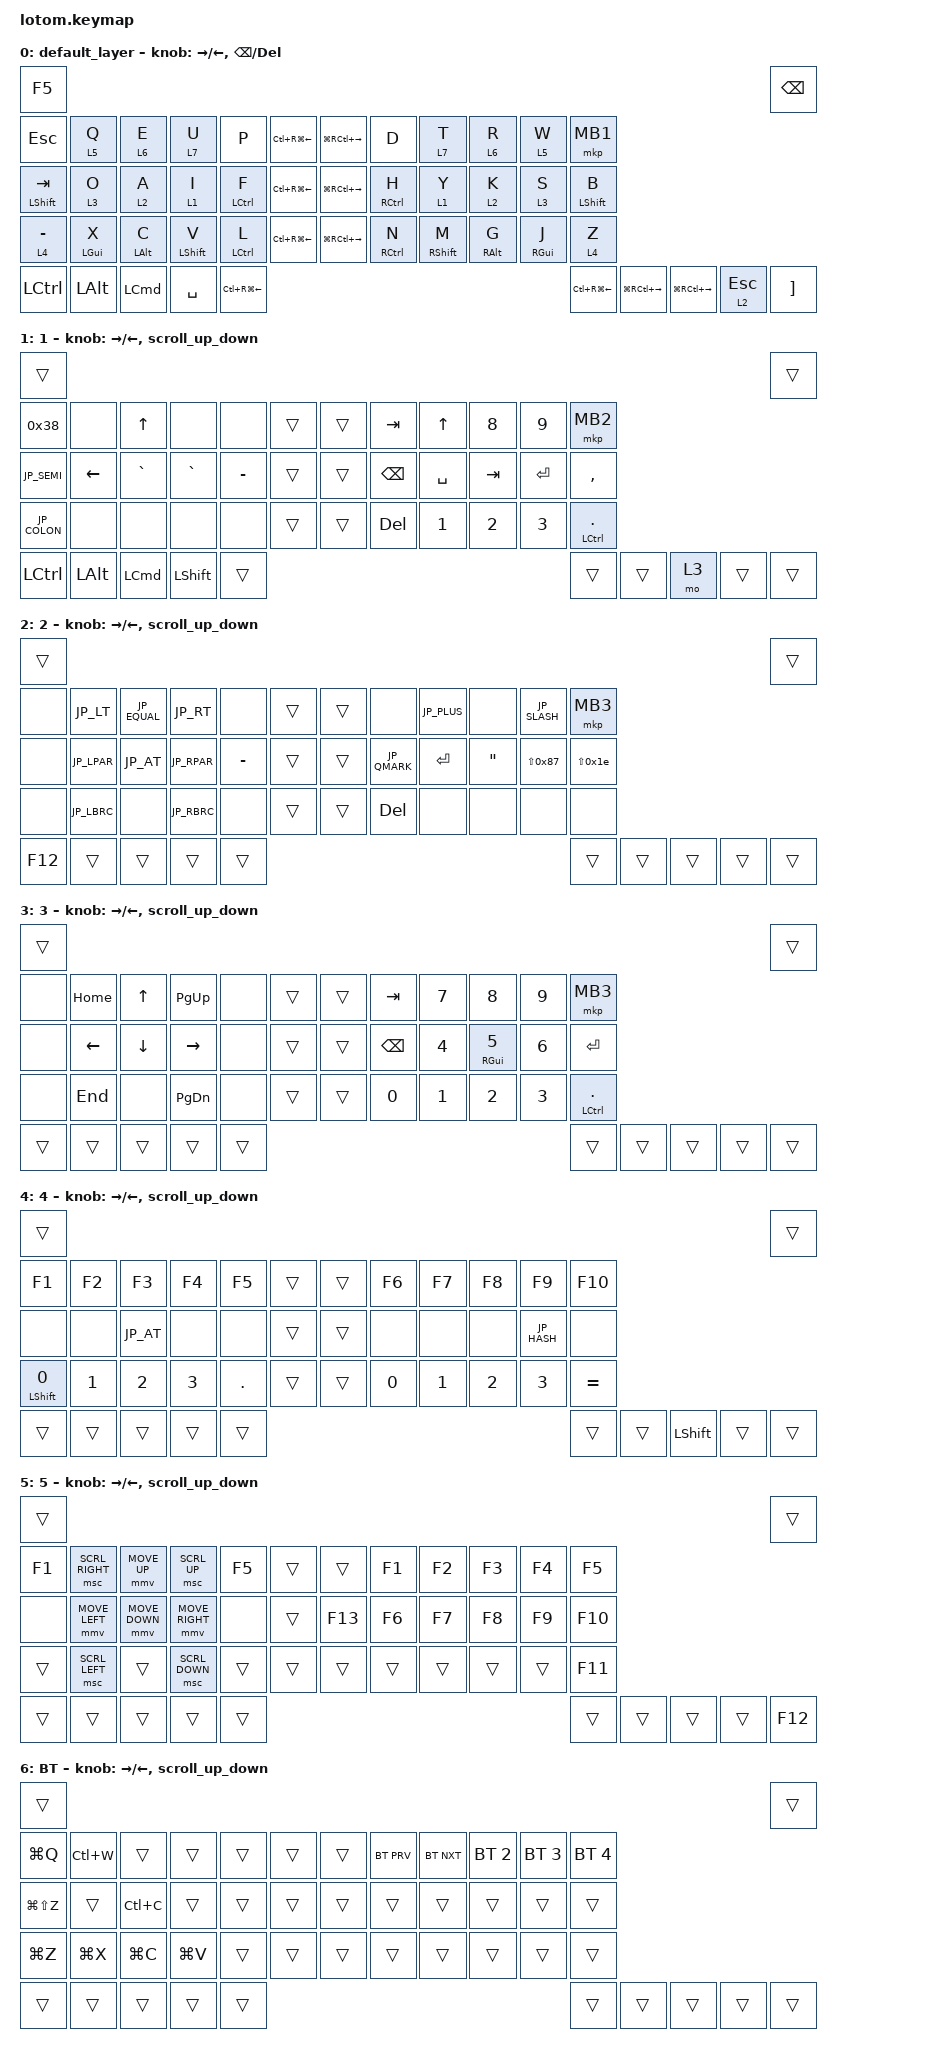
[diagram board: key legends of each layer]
#include <behaviors.dtsi>
#include <dt-bindings/zmk/bt.h>
#include <dt-bindings/zmk/keys.h>
#include <dt-bindings/zmk/pointing.h>

#include "keycode_japanese.h"




#define ZMK_POINTING_DEFAULT_SCRL_VAL 50

&mt { 
    flavor = "balanced"; 
    tapping-term-ms = <200>;
    quick-tap-ms = <150>; 
};

&lt {
    flavor = "balanced";
    tapping-term-ms = <200>; 
    quick-tap-ms = <150>; 
};

// 0                                              1
//    2  3  4  5  6  7           8  9  10 11 12 13 
//    14 15 16 17 18 19          20 21 22 23 24 25
//    26 27 28 29 30 31          32 33 34 35 36 37
//    38 39 40 41 42 43          44 45       46 47


/ {
    combos { compatible = "zmk,combos"; 

        lang {
            bindings = <&kp GRAVE>;
            key-positions = <3 5>;
            layers = <0>;
            timeout-ms = <200>;
        };

        fopen {
            bindings = <&kp LG(N2)>;
            key-positions = <9 13>;
            layers = <0>;
            timeout-ms = <200>;
        };

       bootloader_R {
            bindings = <&bootloader>;
            key-positions = <1 8 44 47>;
            timeout-ms = <200>;
        };

       bootloader_L {
            bindings = <&bootloader>;
            key-positions = <0 7 38 43>;
            timeout-ms = <200>;
        };

        eq {
            bindings = <&bt BT_CLR_ALL>;
            key-positions = <8 20 32 34>;
            timeout-ms = <50>;
            layers = <0>;
        };

        bt0 {
            bindings = <&bt BT_SEL 0>;
            key-positions = <9 21 33>;
            timeout-ms = <50>;
            layers = <0>;
        };

        mute {
            bindings = <&kp C_MUTE>;
            key-positions = <17 18>;
            layers = <0>;
        };

        vup {
            bindings = <&kp C_VOL_UP>;
            key-positions = <5 6>;
            layers = <0>;
        };

        vdn {
            bindings = <&kp C_VOL_DN>;
            key-positions = <29 30>;
            layers = <0>;
        };

        printscreen {
            bindings = <&kp PSCRN>;
            key-positions = <27 29>;
            layers = <0>;
        };


        space {
            bindings = <&kp SPACE>;
            key-positions = <14 18>;
            layers = <0>;
        };




};





};





/ {
    behaviors {
      scroll_up_down: behavior_sensor_rotate_mouse_wheel_up_down {
          compatible = "zmk,behavior-sensor-rotate";
          label = "ENCODER_MSC_DOWN_UP";
          #sensor-binding-cells = <0>;
          bindings = <&msc SCRL_DOWN>, <&msc SCRL_UP>;
          tap-ms = <20>;
      };

      tab_slide: behavior_sensor_rotate_tab_slide {
          compatible = "zmk,behavior-sensor-rotate";
          label = "ENCODER_TAB_SLIDE";
          #sensor-binding-cells = <0>;
          bindings = <&kp LA(LG(RIGHT_ARROW))>, <&kp LA(LG(LEFT_ARROW))>;
          tap-ms = <20>;
      };
    };

    keymap {
        compatible = "zmk,keymap";

        default_layer {
            bindings = <
&kp F5                                                                                                                                                &kp BACKSPACE

&kp ESCAPE      &lt 5 Q    &lt 6 E    &lt 7 U       &kp P      &kp LC(RG(LEFT))        &kp LG(RC(RIGHT))   &kp D        &lt 7 T       &lt 6 R     &lt 5 W     &mkp MB1
&mt LSHIFT TAB      &lt 3 O        &lt 2 A      &lt 1 I &mt LCTRL F &kp LC(RG(LEFT))        &kp LG(RC(RIGHT)) &mt RCTRL H  &lt 1 Y         &lt 2 K       &lt 3 S       &mt LEFT_SHIFT B

&lt 4 MINUS    &mt LGUI X   &mt LALT C &mt LSHIFT V  &mt LCTRL L &kp LC(RG(LEFT))        &kp LG(RC(RIGHT)) &mt RCTRL N &mt RSHIFT M  &mt RALT G  &mt RGUI J  &lt 4 Z

&kp LCTRL  &kp LEFT_ALT  &kp LEFT_COMMAND  &kp SPACE   &kp LC(RG(LEFT))   &kp LC(RG(LEFT))        &kp LG(RC(RIGHT)) &kp LG(RC(RIGHT))                   &lt 2 ESCAPE  &kp RIGHT_BRACKET
            >;

            sensor-bindings = <
                &inc_dec_kp RIGHT_ARROW LEFT_ARROW
                &inc_dec_kp BACKSPACE DELETE
            >;
        };

        1 {
            bindings = <
&trans                                                                                                                       &trans

&kp 0x38     &none      &kp UP     &none       &none &trans &trans &kp TAB          &kp UP          &kp N8        &kp N9         &mkp MB2

&kp JP_SEMI  &kp LEFT   &kp GRAVE  &kp GRAVE   &kp MINUS &trans &trans &kp BACKSPACE  &kp SPACE       &kp TAB       &kp ENTER      &kp COMMA

&kp JP_COLON &none &none &none &none &trans &trans &kp DELETE  &kp N1 &kp N2 &kp N3 &mt LCTRL PERIOD

&kp LCTRL  &kp LEFT_ALT  &kp LEFT_COMMAND  &kp LEFT_SHIFT  &trans  &trans &trans  &mo 3                       &trans    &trans
            >;

            sensor-bindings = <
                &inc_dec_kp RIGHT_ARROW LEFT_ARROW
                &scroll_up_down
            >;
        };

        2 {
            bindings = <
&trans                                                                                          &trans
&none        &kp JP_LT      &kp JP_EQUAL   &kp JP_RT  &none &trans &trans &none &kp JP_PLUS     &none        &kp JP_SLASH  &mkp MB3

&none        &kp JP_LPAR    &kp JP_AT      &kp JP_RPAR   &kp MINUS &trans &trans &kp JP_QMARK   &kp ENTER  &kp DOUBLE_QUOTES &kp LS(0x87)  &kp LS(0x1e)

&none        &kp JP_LBRC    &none          &kp JP_RBRC &none &trans &trans &kp DELETE          &none           &none         &none         &none
&kp F12     &trans  &trans  &trans  &trans  &trans      &trans  &trans                  &trans  &trans
            >;

            sensor-bindings = <
                &inc_dec_kp RIGHT_ARROW LEFT_ARROW
                &scroll_up_down
            >;
        };

        3 {
            bindings = <
&trans                                                                                                                                                                                 &trans
&none        &kp HOME   &kp UP     &kp PAGE_UP      &none &trans &trans &kp TAB          &kp N7          &kp N8        &kp N9         &mkp MB3

&none        &kp LEFT   &kp DOWN   &kp RIGHT        &none &trans &trans &kp BACKSPACE  &kp N4          &mt RGUI N5        &kp N6         &kp ENTER

&none        &kp END    &none      &kp PAGE_DOWN    &none &trans &trans &kp N0         &kp N1          &kp N2        &kp N3         &mt LCTRL PERIOD
&trans     &trans                  &trans          &trans                   &trans             &trans      &trans  &trans                                         &trans               &trans
            >;

            sensor-bindings = <
                &inc_dec_kp RIGHT_ARROW LEFT_ARROW
                &scroll_up_down
            >;
        };

         4 {
            bindings = <
&trans                                                                                                                                                                  &trans
&kp F1  &kp F2  &kp F3  &kp F4  &kp F5 &trans &trans &kp F6  &kp F7  &kp F8  &kp F9  &kp F10

&none   &none   &kp JP_AT   &none   &none &trans &trans &none   &none   &none   &kp JP_HASH   &none

&mt LEFT_SHIFT NUMBER_0  &kp NUMBER_1  &kp NUMBER_2  &kp NUMBER_3 &kp PERIOD &trans &trans  &kp NUMBER_0     &kp NUMBER_1  &kp NUMBER_2  &kp NUMBER_3  &kp EQUAL
&trans                   &trans        &trans        &trans                &trans        &trans      &trans  &kp LEFT_SHIFT                               &trans        &trans
            >;

            sensor-bindings = <
                &inc_dec_kp RIGHT_ARROW LEFT_ARROW
                &scroll_up_down
            >;
        };

        5 {
            bindings = <
&trans                                                                                       &trans
&kp F1  &msc SCRL_RIGHT  &mmv MOVE_UP     &msc SCRL_UP  &kp F5 &trans &trans &kp F1  &kp F2  &kp F3  &kp F4  &kp F5

&none   &mmv MOVE_LEFT   &mmv MOVE_DOWN   &mmv MOVE_RIGHT &none &trans &kp F13 &kp F6  &kp F7  &kp F8  &kp F9  &kp F10

&trans  &msc SCRL_LEFT   &trans           &msc SCRL_DOWN &trans &trans &trans &trans  &trans  &trans  &trans  &kp F11
&trans  &trans  &trans  &trans  &trans  &trans      &trans   &trans                  &trans  &kp F12
            >;

            sensor-bindings = <
                &inc_dec_kp RIGHT_ARROW LEFT_ARROW
                &scroll_up_down
            >;
        };

        BT {
            bindings = <
&trans                                                                                                                                      &trans
&kp LG(Q)      &kp LC(W)  &trans     &trans     &trans  &trans      &trans  &bt BT_PRV  &bt BT_NXT  &bt BT_SEL 2  &bt BT_SEL 3  &bt BT_SEL 4
&kp LG(LS(Z))  &trans     &kp LC(C)  &trans     &trans  &trans      &trans  &trans      &trans      &trans        &trans        &trans
&kp LG(Z)      &kp LG(X)  &kp LG(C)  &kp LG(V)  &trans  &trans      &trans  &trans      &trans      &trans        &trans        &trans
&trans         &trans     &trans     &trans     &trans  &trans      &trans  &trans                                &trans        &trans
            >;

            sensor-bindings = <
                &inc_dec_kp RIGHT_ARROW LEFT_ARROW
                &scroll_up_down
            >;
        };
    };
};
